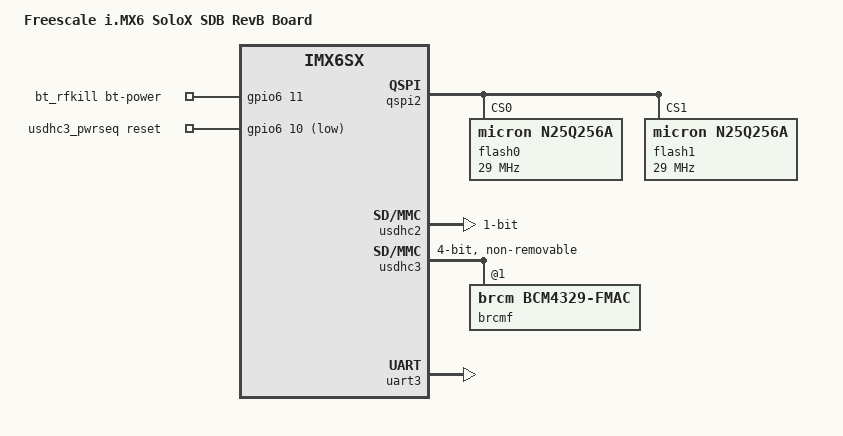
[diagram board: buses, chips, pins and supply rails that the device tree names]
/*
 * Copyright (C) 2015 Freescale Semiconductor, Inc.
 *
 * This program is free software; you can redistribute it and/or modify
 * it under the terms of the GNU General Public License version 2 as
 * published by the Free Software Foundation.
 */

#include "imx6sx-sdb.dtsi"

/ {
	model = "Freescale i.MX6 SoloX SDB RevB Board";

	regulators {
		/* Transceiver EN/STBY is active low on RevB board */
		reg_can_stby: regulator@10 {
			gpio = <&gpio4 27 GPIO_ACTIVE_LOW>;
		};
	};
	bt_rfkill {
		compatible = "fsl,mxc_bt_rfkill";
		bt-power-gpios = <&gpio6 11 0>;
		status = "okay";
	};
	usdhc3_pwrseq: usdhc3_pwrseq {
		compatible = "mmc-pwrseq-simple";
		reset-gpios = <&gpio6 10 GPIO_ACTIVE_LOW>;
	};
};

&cpu0 {
	operating-points = <
		/* kHz    uV */
		996000  1250000
		792000  1175000
		396000  1175000
	>;
	fsl,soc-operating-points = <
		/* ARM kHz      SOC uV */
		996000  1250000
		792000  1175000
		396000  1175000
	>;

	fsl,arm-soc-shared = <1>;
};

&reg_arm {
	vin-supply = <&sw1a_reg>;
	regulator-allow-bypass;
};

&reg_soc {
	vin-supply = <&sw1a_reg>;
	regulator-allow-bypass;
};

&qspi2 {
	pinctrl-names = "default";
	pinctrl-0 = <&pinctrl_qspi2>;
	status = "okay";

#ifndef SPANSIONFLASH
	ddrsmp=<0>;

	flash0: n25q256a@0 {
		#address-cells = <1>;
		#size-cells = <1>;
		compatible = "micron,n25q256a", "jedec,spi-nor";
		spi-max-frequency = <29000000>;
		reg = <0>;
	};

	flash1: n25q256a@1 {
		#address-cells = <1>;
		#size-cells = <1>;
		compatible = "micron,n25q256a", "jedec,spi-nor";
		spi-max-frequency = <29000000>;
		reg = <1>;
	};
#endif
};

&reg_arm {
	vin-supply = <&sw1a_reg>;
	regulator-allow-bypass;
};

&reg_soc {
	vin-supply = <&sw1a_reg>;
	regulator-allow-bypass;
};

&usbphy1 {
	fsl,tx-d-cal = <106>;
};

&usbphy2 {
	fsl,tx-d-cal = <106>;
};

&usdhc2 {
	pinctrl-names = "default";
	pinctrl-0 = <&pinctrl_usdhc2_2>;
	bus-width = <1>;
};

&vcc_sd3 {
	regulator-always-on;
};

&usdhc3 {
	#address-cells = <1>;
	#size-cells = <0>;
	pinctrl-names = "default";
	pinctrl-0 = <&pinctrl_wifi_sdio>;
	bus-width = <4>;
	no-1-8-v;	/* force 3.3V VIO */
	non-removable;
	mmc-pwrseq = <&usdhc3_pwrseq>;
	pm-ignore-notify;
	cap-power-off-card;
	status = "okay";

	brcmf: bcrmf@1 {
		reg = <1>;
		compatible = "brcm,bcm4329-fmac";
	};

};

&uart3 { /* ttymxc2 for Murata BCM4339 V1 Bluetooth. */
	pinctrl-names = "default";
	pinctrl-0 = <&pinctrl_bt_uart>;
	fsl,uart-has-rtscts;
	status = "okay";
};
